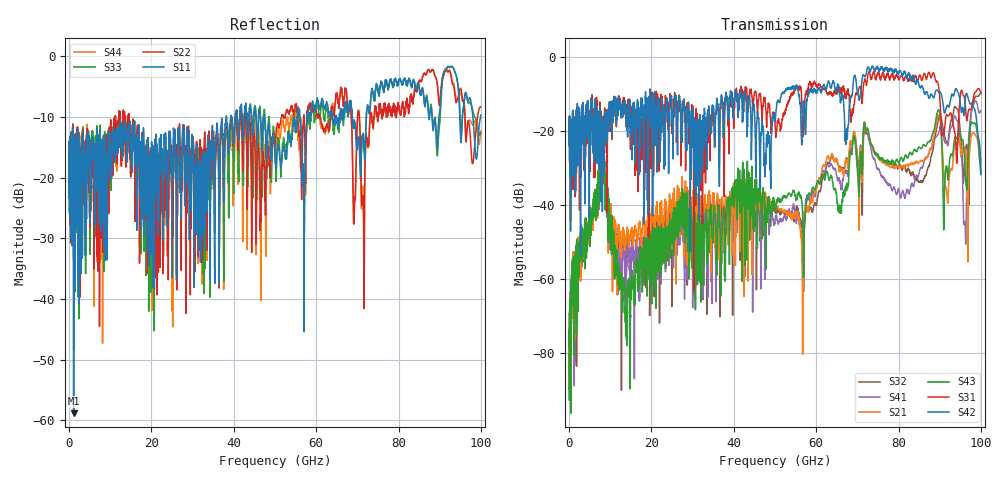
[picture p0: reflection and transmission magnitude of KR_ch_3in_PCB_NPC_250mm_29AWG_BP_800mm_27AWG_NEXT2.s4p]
! Created Thu Mar  2 12:40:35 2023
# ghz S ma R 45
! 4 Port Network Data from SP1.SP block
! freq  magS11  angS11  magS12  angS12  magS13  angS13  magS14  angS14
!  magS21  angS21  magS22  angS22  magS23  angS23  magS24  angS24
!  magS31  angS31  magS32  angS32  magS33  angS33  magS34  angS34
!  magS41  angS41  magS42  angS42  magS43  angS43  magS44  angS44
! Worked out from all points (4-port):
!   4000 points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, 25 MHz to 100 GHz, reference 45 ohm
!   strongest paths, dB at 25 MHz, 25.02 GHz, 50.02 GHz, 75.03 GHz, 100 GHz:
!     S42: -21.0, -16.7, -17.2, -3.3, -31.4
!     S31: -21.1, -18.1, -18.0, -4.1, -9.7
!     S43: -92.6, -46.6, -41.3, -26.5, -31.7
!     S21: -85.8, -50.1, -40.7, -27.2, -27.4
!     S41: -84.1, -47.6, -44.4, -30.2, -14.5
!     S32: -89.6, -54.9, -40.9, -27.2, -9.7
!   lowest |S11| = -58.8 dB at 1.125 GHz (marker M1), VSWR 1.00, Z = 45 + j0.101 ohm
!   |S11| at or under -10 dB: start of sweep to 38.16 GHz; 47.47 GHz to 55.53 GHz (8.061 GHz wide, 15.7 % of centre); 68.77 GHz to 72.17 GHz (3.401 GHz wide, 4.83 % of centre)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
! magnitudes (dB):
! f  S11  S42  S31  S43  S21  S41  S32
! 25 MHz  -16.4  -21.0  -21.1  -92.6  -85.8  -84.1  -89.6
! 1.125 GHz  -58.8  -26.8  -25.8  -63.2  -63.1  -62.6  -64.5
! 8.125 GHz  -15.4  -32.7  -27.8  -23.2  -23.0  -23.7  -22.8
! 14.35 GHz  -13.4  -13.6  -11.6  -61.2  -47.5  -50.3  -48.2
! 71.95 GHz  -13.9  -5.2  -6.4  -18.8  -19.3  -18.7  -20.1
! 96.1 GHz  -6.5  -13.2  -11.7  -28.5  -24.6  -44.7  -27.3
! 100 GHz  -9.7  -31.4  -9.7  -31.7  -27.4  -14.5  -9.7
